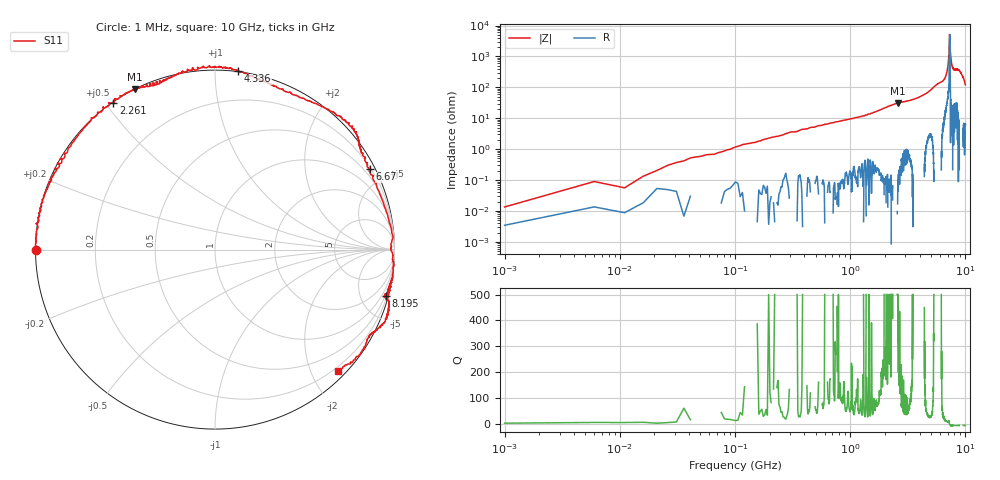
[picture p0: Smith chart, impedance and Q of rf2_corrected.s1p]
! Created with skrf 1.8.0 (http://scikit-rf.org).
# GHz S RI R 50.0
!freq ReS11 ImS11
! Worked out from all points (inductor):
!   2001 points, 1 MHz to 10 GHz, reference 50 ohm
!   read as one part to ground: L = 1.75 nH near 50.99 MHz
!   highest Q = 435 at 2.586 GHz (marker M1), where L = 1.9 nH
!   self-resonance near 7.31 GHz
!   S11 on the Smith chart (normalised r, x): 1 MHz: 0.00, +0.00; 2.261 GHz: 0.00, +0.52; 4.336 GHz: -0.00, +1.14; 6.67 GHz: 0.26, +4.08; 8.195 GHz: 0.46, -7.52; 10 GHz: 0.13, -2.43
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0.001  -0.9999 0.000522
0.5659435  -0.9732 0.2326
1.250875  -0.8912 0.4309
1.715828  -0.7837 0.609
2.260774  -0.5663 0.8187
2.50075  -0.4753 0.8796
2.585742  -0.4484 0.8924
3.455655  -0.2257 0.9698
3.750625  -0.1265 1.011
4.085591  0.0195 1.017
4.335566  0.1289 0.9943
5.0005  0.4536 0.8602
5.365463  0.6358 0.7782
5.630437  0.7288 0.7136
5.870413  0.7765 0.6591
6.250375  0.802 0.5842
6.485352  0.829 0.5196
6.670333  0.8616 0.4476
6.930307  0.926 0.2871
7.165284  0.9841 0.1048
7.50025  0.9924 -0.1265
7.850215  0.9608 -0.2468
8.19518  0.9501 -0.2562
8.750125  0.9562 -0.2753
9.350065  0.949 -0.3969
9.675033  0.8554 -0.4828
9.79502  0.8289 -0.5463
10  0.6847 -0.678
